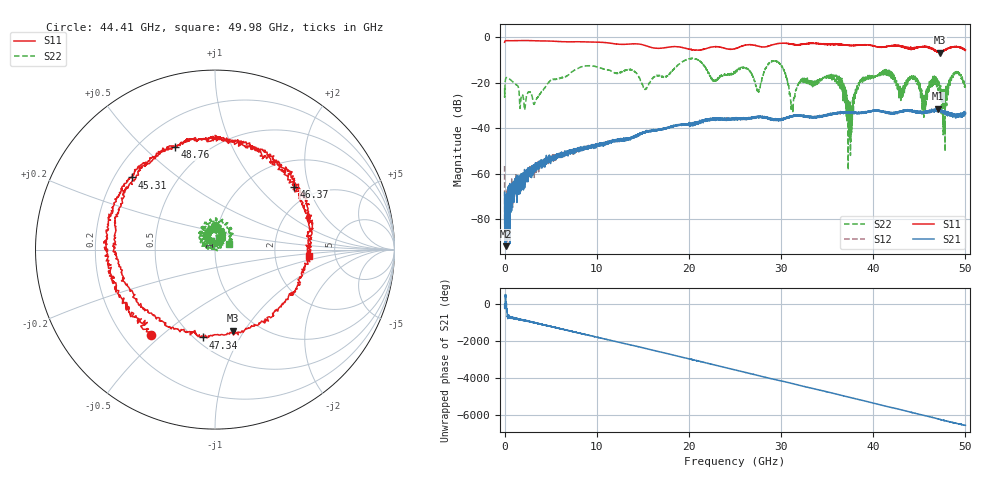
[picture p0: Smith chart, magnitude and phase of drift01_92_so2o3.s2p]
!Created with skrf (http://scikit-rf.org).
# Hz S RI R 50.0
!freq ReS11 ImS11 ReS21 ImS21 ReS12 ImS12 ReS22 ImS22
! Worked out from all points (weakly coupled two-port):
!   10001 points, 300 kHz to 50 GHz, reference 50 ohm
!   highest |S21| = -31.44 dB at 47.04 GHz (marker M1); lowest = -91.9 dB at 120.3 MHz (marker M2)
!   lowest |S11| = -6.7 dB at 47.21 GHz (marker M3), VSWR 2.73, Z = 38.7 - j44.6 ohm
!   |S11| at or under -10 dB: nowhere
!   |S22| runs from -58.3 to -9.2 dB; largest |S21 - S12| = 0.0051
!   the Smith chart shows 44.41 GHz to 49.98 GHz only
!   S11 on the Smith chart (normalised r, x): 44.41 GHz: 0.31, -0.46; 45.31 GHz: 0.27, +0.35; 46.37 GHz: 1.56, +1.61; 47.34 GHz: 0.55, -0.71; 48.76 GHz: 0.34, +0.63; 49.98 GHz: 3.17, -0.33
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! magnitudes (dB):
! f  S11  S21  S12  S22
! 300 kHz  -2.1  -68.3  -56.6  -22.3
! 120.3 MHz  -1.5  -91.9  -89.1  -18.1
! 3.29 GHz  -1.5  -56.7  -56.7  -28.9
! 8.335 GHz  -1.9  -48.6  -48.5  -12.9
! 16.67 GHz  -4.8  -40.8  -40.5  -16.6
! 25 GHz  -5.0  -36.1  -35.7  -15.5
! 29.59 GHz  -2.8  -36.6  -36.4  -10.6
! 31.24 GHz  -3.0  -34.6  -34.7  -31.8
! 33.34 GHz  -2.6  -35.2  -34.9  -20.3
! 36.23 GHz  -3.0  -33.4  -33.2  -19.2
! 37.5 GHz  -3.5  -32.9  -33.1  -33.4
! 38.65 GHz  -3.3  -33.3  -33.3  -20.1
! 41.67 GHz  -3.9  -33.1  -33.2  -15.6
! 44.41 GHz  -4.5  -32.8  -32.7  -17.8
! 45.31 GHz  -4.3  -32.7  -32.9  -32.3
! 46.37 GHz  -5.0  -32.0  -32.3  -20.1
! 47.04 GHz  -6.4  -31.4  -32.1  -22.2
! 47.21 GHz  -6.7  -32.2  -32.3  -25.3
! 47.34 GHz  -6.1  -32.3  -32.0  -22.1
! 48.76 GHz  -4.2  -34.0  -34.3  -16.5
! 49.98 GHz  -5.6  -33.1  -34.0  -21.4
! 50 GHz  -5.4  -33.1  -33.3  -21.7
